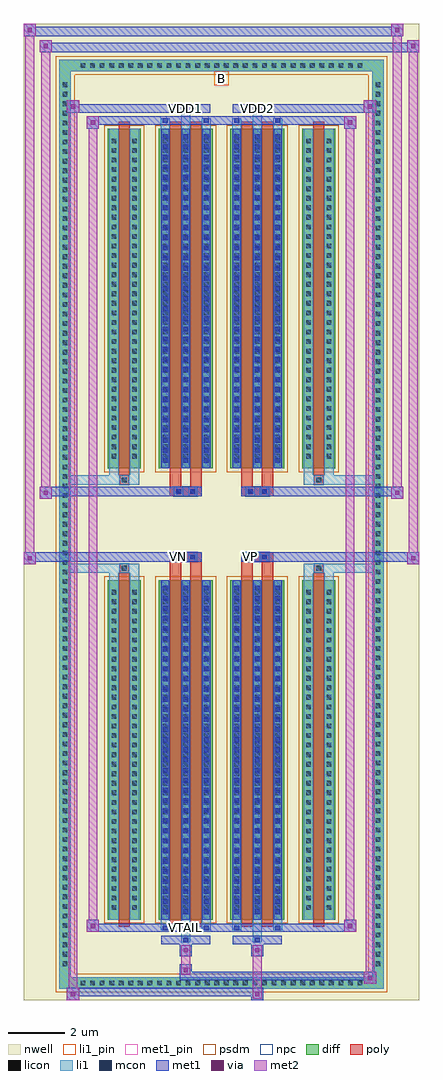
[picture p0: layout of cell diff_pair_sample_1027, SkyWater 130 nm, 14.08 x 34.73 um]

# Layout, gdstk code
import gdstk
lib = gdstk.Library(unit=1e-6, precision=5e-09)
def R(c, l, rs):  # rectangles x0, y0, x1, y1
    for r in rs: c.add(gdstk.rectangle(r[:2], r[2:], *l))
def A(c, l, x, y, w, h, nx, ny, dx, dy):  # array of equal rectangles
    R(c, l, [(x+i*dx, y+j*dy, x+i*dx+w, y+j*dy+h) for i in range(nx) for j in range(ny)])
def P(c, l, *ps):  # polygons
    for p in ps: c.add(gdstk.Polygon(p, *l))
nwell = (64, 20)
diff = (65, 20)
poly = (66, 20)
licon = (66, 44)
li1_pin = (67, 16)
li1 = (67, 20)
mcon = (67, 44)
met1_pin = (68, 16)
met1 = (68, 20)
via = (68, 44)
met2 = (69, 20)
psdm = (94, 20)
npc = (95, 20)

diff_pair_sample_1027 = lib.new_cell('diff_pair_sample_1027')
R(diff_pair_sample_1027, nwell, [(-7.04,-16.93,7.04,17.8), (-4.36,-15.12,-0.01,-0.8), (0.01,-15.12,4.36,-0.8), (-4.36,0.8,-0.01,15.12), (0.01,0.8,4.36,15.12)])
A(diff_pair_sample_1027, diff, -5.135, -16.53, 0.41, 0.41, 30, 2, 0.34, 32.65)
A(diff_pair_sample_1027, diff, -5.77, -15.845, 0.41, 0.41, 1, 93, 0, 0.34)
A(diff_pair_sample_1027, diff, 5.36, -15.845, 0.41, 0.41, 1, 93, 0, 0.34)
R(diff_pair_sample_1027, diff, [(-5.135,-16.53,5.135,-16.12), (-5.77,-15.845,-5.36,15.845), (5.36,-15.845,5.77,15.845), (-4.05,-14.075,-2.87,-1.985), (-2.23,-14.075,-0.32,-1.985), (0.32,-14.075,2.23,-1.985), (2.87,-14.075,4.05,-1.985), (-4.05,1.985,-2.87,14.075), (-2.23,1.985,-0.32,14.075), (0.32,1.985,2.23,14.075), (2.87,1.985,4.05,14.075), (-5.135,16.12,5.135,16.53)])
P(diff_pair_sample_1027, diff, [(5.77,16.53),(-5.77,16.53),(-5.77,-16.12),(-5.36,-16.12),(-5.36,16.12),(5.36,16.12),(5.36,-16.12),(-5.36,-16.12),(-5.77,-16.12),(-5.77,-16.53),(5.77,-16.53)])
R(diff_pair_sample_1027, poly, [(-3.66,-14.325,-3.26,-1.735), (-1.84,-14.325,-1.44,-1.735), (-1.11,-14.325,-0.71,-1.735), (0.71,-14.325,1.11,-1.735), (1.44,-14.325,1.84,-1.735), (3.26,-14.325,3.66,-1.735), (-3.625,-1.735,-3.295,-1.405), (-3.625,-1.735,-3.295,-1.405), (-1.84,-1.735,-1.44,-1.33), (-1.11,-1.735,-0.71,-1.33), (0.71,-1.735,1.11,-1.33), (1.44,-1.735,1.84,-1.33), (3.295,-1.735,3.625,-1.405), (3.295,-1.735,3.625,-1.405), (-1.84,-1.33,-0.71,-1), (-1.69,-1.33,-1.36,-1), (-1.19,-1.33,-0.86,-1), (0.71,-1.33,1.84,-1), (0.86,-1.33,1.19,-1), (1.36,-1.33,1.69,-1), (-1.84,1,-0.71,1.33), (-1.69,1,-1.36,1.33), (-1.19,1,-0.86,1.33), (0.71,1,1.84,1.33), (0.86,1,1.19,1.33), (1.36,1,1.69,1.33), (-1.84,1.33,-1.44,1.735), (-1.11,1.33,-0.71,1.735), (0.71,1.33,1.11,1.735), (1.44,1.33,1.84,1.735), (-3.625,1.405,-3.295,1.735), (-3.625,1.405,-3.295,1.735), (3.295,1.405,3.625,1.735), (3.295,1.405,3.625,1.735), (-3.66,1.735,-3.26,14.325), (-1.84,1.735,-1.44,14.325), (-1.11,1.735,-0.71,14.325), (0.71,1.735,1.11,14.325), (1.44,1.735,1.84,14.325), (3.26,1.735,3.66,14.325)])
A(diff_pair_sample_1027, licon, -5.015, -16.41, 0.17, 0.17, 30, 2, 0.34, 32.65)
A(diff_pair_sample_1027, licon, -5.65, -15.725, 0.17, 0.17, 1, 93, 0, 0.34)
A(diff_pair_sample_1027, licon, 5.48, -15.725, 0.17, 0.17, 1, 93, 0, 0.34)
A(diff_pair_sample_1027, licon, -3.91, -13.725, 0.17, 0.17, 1, 34, 0, 0.34)
A(diff_pair_sample_1027, licon, -3.18, -13.725, 0.17, 0.17, 1, 34, 0, 0.34)
A(diff_pair_sample_1027, licon, -2.09, -13.725, 0.17, 0.17, 3, 34, 0.73, 0.34)
A(diff_pair_sample_1027, licon, 0.46, -13.725, 0.17, 0.17, 3, 34, 0.73, 0.34)
A(diff_pair_sample_1027, licon, 3.01, -13.725, 0.17, 0.17, 1, 34, 0, 0.34)
A(diff_pair_sample_1027, licon, 3.74, -13.725, 0.17, 0.17, 1, 34, 0, 0.34)
A(diff_pair_sample_1027, licon, -3.91, 2.335, 0.17, 0.17, 1, 34, 0, 0.34)
A(diff_pair_sample_1027, licon, -3.18, 2.335, 0.17, 0.17, 1, 34, 0, 0.34)
A(diff_pair_sample_1027, licon, -2.09, 2.335, 0.17, 0.17, 3, 34, 0.73, 0.34)
A(diff_pair_sample_1027, licon, 0.46, 2.335, 0.17, 0.17, 3, 34, 0.73, 0.34)
A(diff_pair_sample_1027, licon, 3.01, 2.335, 0.17, 0.17, 1, 34, 0, 0.34)
A(diff_pair_sample_1027, licon, 3.74, 2.335, 0.17, 0.17, 1, 34, 0, 0.34)
R(diff_pair_sample_1027, licon, [(-3.545,-1.655,-3.375,-1.485), (3.375,-1.655,3.545,-1.485), (-1.61,-1.25,-1.44,-1.08), (-1.11,-1.25,-0.94,-1.08), (0.94,-1.25,1.11,-1.08), (1.44,-1.25,1.61,-1.08), (-1.61,1.08,-1.44,1.25), (-1.11,1.08,-0.94,1.25), (0.94,1.08,1.11,1.25), (1.44,1.08,1.61,1.25), (-3.545,1.485,-3.375,1.655), (3.375,1.485,3.545,1.655)])
R(diff_pair_sample_1027, li1_pin, [(-0.25,15.62,0.25,16.12)])
A(diff_pair_sample_1027, li1, -5.095, -16.49, 0.33, 0.33, 30, 2, 0.34, 32.65)
A(diff_pair_sample_1027, li1, -5.73, -15.805, 0.33, 0.33, 1, 93, 0, 0.34)
A(diff_pair_sample_1027, li1, 5.4, -15.805, 0.33, 0.33, 1, 93, 0, 0.34)
A(diff_pair_sample_1027, li1, -2.17, -14.075, 0.33, 12.09, 3, 2, 0.73, 16.06)
A(diff_pair_sample_1027, li1, 0.38, -14.075, 0.33, 12.09, 3, 2, 0.73, 16.06)
A(diff_pair_sample_1027, li1, -2.09, -13.875, 0.17, 0.17, 3, 33, 0.73, 0.36)
A(diff_pair_sample_1027, li1, -2.09, -13.875, 0.17, 11.69, 3, 2, 0.73, 16.06)
A(diff_pair_sample_1027, li1, 0.46, -13.875, 0.17, 0.17, 3, 33, 0.73, 0.36)
A(diff_pair_sample_1027, li1, 0.46, -13.875, 0.17, 11.69, 3, 2, 0.73, 16.06)
A(diff_pair_sample_1027, li1, -3.99, -13.805, 0.33, 0.33, 1, 34, 0, 0.34)
A(diff_pair_sample_1027, li1, -3.26, -13.805, 0.33, 0.33, 1, 34, 0, 0.34)
A(diff_pair_sample_1027, li1, -2.17, -13.805, 0.33, 0.33, 3, 34, 0.73, 0.34)
A(diff_pair_sample_1027, li1, 0.38, -13.805, 0.33, 0.33, 3, 34, 0.73, 0.34)
A(diff_pair_sample_1027, li1, 2.93, -13.805, 0.33, 0.33, 1, 34, 0, 0.34)
A(diff_pair_sample_1027, li1, 3.66, -13.805, 0.33, 0.33, 1, 34, 0, 0.34)
A(diff_pair_sample_1027, li1, -2.09, 2.185, 0.17, 0.17, 3, 33, 0.73, 0.36)
A(diff_pair_sample_1027, li1, 0.46, 2.185, 0.17, 0.17, 3, 33, 0.73, 0.36)
A(diff_pair_sample_1027, li1, -3.99, 2.255, 0.33, 0.33, 1, 34, 0, 0.34)
A(diff_pair_sample_1027, li1, -3.26, 2.255, 0.33, 0.33, 1, 34, 0, 0.34)
A(diff_pair_sample_1027, li1, -2.17, 2.255, 0.33, 0.33, 3, 34, 0.73, 0.34)
A(diff_pair_sample_1027, li1, 0.38, 2.255, 0.33, 0.33, 3, 34, 0.73, 0.34)
A(diff_pair_sample_1027, li1, 2.93, 2.255, 0.33, 0.33, 1, 34, 0, 0.34)
A(diff_pair_sample_1027, li1, 3.66, 2.255, 0.33, 0.33, 1, 34, 0, 0.34)
R(diff_pair_sample_1027, li1, [(-5.77,-16.53,-5.36,-16.12), (-5.77,-16.53,-5.36,-16.12), (-5.36,-16.53,5.36,-16.12), (5.36,-16.53,5.77,-16.12), (5.36,-16.53,5.77,-16.12), (-5.77,-16.12,-5.36,16.12), (5.36,-16.12,5.77,16.12), (-1.44,-14.88,-1.11,-14.075), (-1.36,-14.88,-1.19,-14.71), (1.11,-14.88,1.44,-14.075), (1.19,-14.88,1.36,-14.71), (-2.17,-14.45,-1.84,-14.075), (-2.09,-14.45,-1.92,-14.28), (-0.71,-14.45,-0.38,-14.075), (-0.63,-14.45,-0.46,-14.28), (0.38,-14.45,0.71,-14.075), (0.46,-14.45,0.63,-14.28), (1.84,-14.45,2.17,-14.075), (1.92,-14.45,2.09,-14.28), (-3.99,-14.075,-3.66,-1.985), (-3.26,-14.075,-2.93,-1.985), (2.93,-14.075,3.26,-1.985), (3.66,-14.075,3.99,-1.985), (-3.99,-1.985,-3.66,-1.405), (-3.26,-1.985,-2.93,-1.405), (2.93,-1.985,3.26,-1.405), (3.66,-1.985,3.99,-1.405), (-5.77,-1.735,-3.625,-1.405), (-3.99,-1.735,-3.625,-1.405), (-3.625,-1.735,-3.295,-1.405), (-3.295,-1.735,-2.93,-1.405), (2.93,-1.735,3.295,-1.405), (3.295,-1.735,3.625,-1.405), (3.295,-1.735,5.77,-1.405), (3.625,-1.735,3.99,-1.405), (-1.69,-1.33,-1.36,-1), (-1.19,-1.33,-0.86,-1), (0.86,-1.33,1.19,-1), (1.36,-1.33,1.69,-1), (-1.69,1,-1.36,1.33), (-1.19,1,-0.86,1.33), (0.86,1,1.19,1.33), (1.36,1,1.69,1.33), (-5.77,1.405,-3.625,1.735), (-3.99,1.405,-3.625,1.735), (-3.99,1.405,-3.66,1.985), (-3.625,1.405,-3.295,1.735), (-3.295,1.405,-2.93,1.735), (-3.26,1.405,-2.93,1.985), (2.93,1.405,3.295,1.735), (2.93,1.405,3.26,1.985), (3.295,1.405,3.625,1.735), (3.295,1.405,5.77,1.735), (3.625,1.405,3.99,1.735), (3.66,1.405,3.99,1.985), (-3.99,1.985,-3.66,14.075), (-3.26,1.985,-2.93,14.075), (2.93,1.985,3.26,14.075), (3.66,1.985,3.99,14.075), (-2.17,14.075,-1.84,14.45), (-1.44,14.075,-1.11,14.88), (-0.71,14.075,-0.38,14.45), (0.38,14.075,0.71,14.45), (1.11,14.075,1.44,14.88), (1.84,14.075,2.17,14.45), (-2.09,14.28,-1.92,14.45), (-0.63,14.28,-0.46,14.45), (0.46,14.28,0.63,14.45), (1.92,14.28,2.09,14.45), (-1.36,14.71,-1.19,14.88), (1.19,14.71,1.36,14.88), (-5.77,16.12,-5.36,16.53), (-5.77,16.12,-5.36,16.53), (-5.36,16.12,5.36,16.53), (5.36,16.12,5.77,16.53), (5.36,16.12,5.77,16.53)])
A(diff_pair_sample_1027, mcon, -2.09, -13.875, 0.17, 0.17, 3, 33, 0.73, 0.36)
A(diff_pair_sample_1027, mcon, 0.46, -13.875, 0.17, 0.17, 3, 33, 0.73, 0.36)
A(diff_pair_sample_1027, mcon, -2.09, 2.185, 0.17, 0.17, 3, 33, 0.73, 0.36)
A(diff_pair_sample_1027, mcon, 0.46, 2.185, 0.17, 0.17, 3, 33, 0.73, 0.36)
R(diff_pair_sample_1027, mcon, [(-1.36,-14.88,-1.19,-14.71), (1.19,-14.88,1.36,-14.71), (-2.09,-14.45,-1.92,-14.28), (-0.63,-14.45,-0.46,-14.28), (0.46,-14.45,0.63,-14.28), (1.92,-14.45,2.09,-14.28), (-1.61,-1.25,-1.44,-1.08), (-1.11,-1.25,-0.94,-1.08), (0.94,-1.25,1.11,-1.08), (1.44,-1.25,1.61,-1.08), (-1.61,1.08,-1.44,1.25), (-1.11,1.08,-0.94,1.25), (0.94,1.08,1.11,1.25), (1.44,1.08,1.61,1.25), (-2.09,14.28,-1.92,14.45), (-0.63,14.28,-0.46,14.45), (0.46,14.28,0.63,14.45), (1.92,14.28,2.09,14.45), (-1.36,14.71,-1.19,14.88), (1.19,14.71,1.36,14.88)])
R(diff_pair_sample_1027, met1_pin, [(-1.41,-14.49,-1.14,-14.22), (-1.66,-1.29,-1.39,-1.02), (0.89,-1.29,1.16,-1.02), (-1.41,14.67,-1.14,14.94), (1.14,14.67,1.41,14.94)])
A(diff_pair_sample_1027, met1, -2.15, -14.075, 0.29, 12.09, 3, 2, 0.73, 16.06)
A(diff_pair_sample_1027, met1, 0.4, -14.075, 0.29, 12.09, 3, 2, 0.73, 16.06)
A(diff_pair_sample_1027, met1, -2.15, -13.935, 0.29, 0.29, 3, 33, 0.73, 0.36)
A(diff_pair_sample_1027, met1, 0.4, -13.935, 0.29, 0.29, 3, 33, 0.73, 0.36)
A(diff_pair_sample_1027, met1, -2.15, 2.125, 0.29, 0.29, 3, 33, 0.73, 0.36)
A(diff_pair_sample_1027, met1, 0.4, 2.125, 0.29, 0.29, 3, 33, 0.73, 0.36)
R(diff_pair_sample_1027, met1, [(-5.5,-16.93,-5.07,-16.5), (1.06,-16.93,1.49,-16.5), (-5.5,-16.79,1.49,-16.5), (5.07,-16.36,5.5,-15.93), (-1.49,-16.22,5.5,-15.93), (-1.49,-16.08,-1.06,-15.65), (-1.49,-15.37,-1.06,-14.94), (1.06,-15.37,1.49,-14.94), (-2.15,-14.94,-0.4,-14.65), (-1.42,-14.94,-1.13,-14.65), (0.4,-14.94,2.15,-14.65), (1.13,-14.94,1.42,-14.65), (-4.79,-14.51,-4.36,-14.08), (-4.79,-14.51,-2.15,-14.22), (-2.15,-14.51,-1.86,-14.22), (-2.15,-14.51,-0.4,-14.22), (-0.69,-14.51,-0.4,-14.22), (-0.4,-14.51,0.4,-14.22), (0.4,-14.51,0.69,-14.22), (0.4,-14.51,2.15,-14.22), (1.86,-14.51,2.15,-14.22), (2.15,-14.51,4.79,-14.22), (4.36,-14.51,4.79,-14.08), (-7.04,-1.43,-6.61,-1), (6.61,-1.43,7.04,-1), (-7.04,-1.33,-0.71,-1), (-1.84,-1.33,-0.71,-1), (0.71,-1.33,1.84,-1), (0.71,-1.33,7.04,-1), (-1.67,-1.31,-1.38,-1.02), (-1.17,-1.31,-0.88,-1.02), (0.88,-1.31,1.17,-1.02), (1.38,-1.31,1.67,-1.02), (-6.47,0.9,-6.04,1.33), (6.04,0.9,6.47,1.33), (-6.47,1,-1.84,1.33), (-1.84,1,-0.71,1.33), (0.71,1,1.84,1.33), (1.84,1,6.47,1.33), (-1.67,1.02,-1.38,1.31), (-1.17,1.02,-0.88,1.31), (0.88,1.02,1.17,1.31), (1.38,1.02,1.67,1.31), (-4.79,14.08,-4.36,14.51), (4.36,14.08,4.79,14.51), (-4.79,14.22,-2.15,14.51), (-2.15,14.22,-1.86,14.51), (-2.15,14.22,-0.4,14.51), (-0.69,14.22,-0.4,14.51), (-0.4,14.22,0.4,14.51), (0.4,14.22,0.69,14.51), (0.4,14.22,2.15,14.51), (1.86,14.22,2.15,14.51), (2.15,14.22,4.79,14.51), (-5.5,14.65,-5.07,15.08), (-5.5,14.65,-2.15,14.94), (-2.15,14.65,-0.4,14.94), (-1.42,14.65,-1.13,14.94), (0.4,14.65,2.15,14.94), (1.13,14.65,1.42,14.94), (2.15,14.65,5.5,14.94), (5.07,14.65,5.5,15.08), (-6.47,16.8,-6.04,17.23), (-6.47,16.8,-4.36,17.13), (-4.36,16.8,4.36,17.13), (4.36,16.8,7.04,17.13), (6.61,16.8,7.04,17.23), (-7.04,17.37,-6.61,17.8), (-7.04,17.37,-4.36,17.7), (-4.36,17.37,4.36,17.7), (4.36,17.37,6.47,17.7), (6.04,17.37,6.47,17.8)])
R(diff_pair_sample_1027, via, [(-5.36,-16.79,-5.21,-16.64), (1.2,-16.79,1.35,-16.64), (5.21,-16.22,5.36,-16.07), (-1.35,-15.94,-1.2,-15.79), (-1.35,-15.23,-1.2,-15.08), (1.2,-15.23,1.35,-15.08), (-4.65,-14.37,-4.5,-14.22), (4.5,-14.37,4.65,-14.22), (-6.9,-1.29,-6.75,-1.14), (6.75,-1.29,6.9,-1.14), (-6.33,1.04,-6.18,1.19), (6.18,1.04,6.33,1.19), (-4.65,14.22,-4.5,14.37), (4.5,14.22,4.65,14.37), (-5.36,14.79,-5.21,14.94), (5.21,14.79,5.36,14.94), (-6.33,16.94,-6.18,17.09), (6.75,16.94,6.9,17.09), (-6.9,17.51,-6.75,17.66), (6.18,17.51,6.33,17.66)])
R(diff_pair_sample_1027, met2, [(-5.5,-16.93,-5.07,-16.5), (-5.43,-16.93,-5.14,15.08), (-5.14,-16.93,-5.07,-16.5), (-5.45,-16.88,-5.12,-16.55), (1.11,-16.88,1.44,-16.55), (1.11,-16.55,1.44,-15.32), (5.07,-16.36,5.5,-15.93), (5.14,-16.36,5.43,15.08), (5.43,-16.36,5.5,-15.93), (5.12,-16.31,5.45,-15.98), (-1.44,-16.03,-1.11,-15.7), (-1.44,-15.7,-1.11,-15.32), (-1.44,-15.32,-1.11,-14.99), (1.11,-15.32,1.44,-14.99), (-4.79,-14.51,-4.36,-14.08), (-4.72,-14.51,-4.43,14.51), (-4.43,-14.51,-4.36,-14.08), (4.36,-14.51,4.79,-14.08), (4.43,-14.51,4.72,14.51), (4.72,-14.51,4.79,-14.08), (-4.74,-14.46,-4.41,-14.13), (4.41,-14.46,4.74,-14.13), (-7.04,-1.43,-6.61,-1), (-6.99,-1.43,-6.66,17.8), (-6.66,-1.43,-6.61,-1), (6.61,-1.43,7.04,-1), (6.66,-1.43,6.99,17.23), (6.99,-1.43,7.04,-1), (-6.99,-1.38,-6.66,-1.05), (6.66,-1.38,6.99,-1.05), (-6.47,0.9,-6.04,1.33), (-6.42,0.9,-6.09,17.23), (-6.09,0.9,-6.04,1.33), (6.04,0.9,6.47,1.33), (6.09,0.9,6.42,17.8), (6.42,0.9,6.47,1.33), (-6.42,0.95,-6.09,1.28), (6.09,0.95,6.42,1.28), (-4.79,14.08,-4.36,14.51), (-4.43,14.08,-4.36,14.51), (4.36,14.08,4.79,14.51), (4.72,14.08,4.79,14.51), (-4.74,14.13,-4.41,14.46), (4.41,14.13,4.74,14.46), (-5.5,14.65,-5.07,15.08), (-5.14,14.65,-5.07,15.08), (5.07,14.65,5.5,15.08), (5.43,14.65,5.5,15.08), (-5.45,14.7,-5.12,15.03), (5.12,14.7,5.45,15.03), (-6.47,16.8,-6.04,17.23), (-6.09,16.8,-6.04,17.23), (6.61,16.8,7.04,17.23), (6.99,16.8,7.04,17.23), (-6.42,16.85,-6.09,17.18), (6.66,16.85,6.99,17.18), (-7.04,17.37,-6.61,17.8), (-6.66,17.37,-6.61,17.8), (6.04,17.37,6.47,17.8), (6.42,17.37,6.47,17.8), (-6.99,17.42,-6.66,17.75), (6.09,17.42,6.42,17.75)])
R(diff_pair_sample_1027, psdm, [(-4.18,-14.205,-2.74,-1.855), (-2.36,-14.205,-0.19,-1.855), (0.19,-14.205,2.36,-1.855), (2.74,-14.205,4.18,-1.855), (-4.18,1.855,-2.74,14.205), (-2.36,1.855,-0.19,14.205), (0.19,1.855,2.36,14.205), (2.74,1.855,4.18,14.205)])
P(diff_pair_sample_1027, psdm, [(5.9,16.66),(-5.9,16.66),(-5.9,-15.99),(-5.23,-15.99),(-5.23,15.99),(5.23,15.99),(5.23,-15.99),(-5.23,-15.99),(-5.9,-15.99),(-5.9,-16.66),(5.9,-16.66)])
R(diff_pair_sample_1027, npc, [(-3.645,-1.755,-3.275,-1.385), (3.275,-1.755,3.645,-1.385), (-1.71,-1.35,-1.34,-0.98), (-1.71,-1.35,-0.84,-0.98), (-1.71,-1.35,-0.84,-0.98), (-1.21,-1.35,-0.84,-0.98), (0.84,-1.35,1.21,-0.98), (0.84,-1.35,1.71,-0.98), (0.84,-1.35,1.71,-0.98), (1.34,-1.35,1.71,-0.98), (-1.71,0.98,-1.34,1.35), (-1.71,0.98,-0.84,1.35), (-1.71,0.98,-0.84,1.35), (-1.21,0.98,-0.84,1.35), (0.84,0.98,1.21,1.35), (0.84,0.98,1.71,1.35), (0.84,0.98,1.71,1.35), (1.34,0.98,1.71,1.35), (-3.645,1.385,-3.275,1.755), (3.275,1.385,3.645,1.755)])
diff_pair_sample_1027.add(gdstk.Label('VTAIL', (-1.275,-14.355), layer=68, texttype=5))
diff_pair_sample_1027.add(gdstk.Label('VN', (-1.525,-1.155), layer=68, texttype=5))
diff_pair_sample_1027.add(gdstk.Label('VP', (1.025,-1.155), layer=68, texttype=5))
diff_pair_sample_1027.add(gdstk.Label('B', (0,15.87), layer=67, texttype=5))
diff_pair_sample_1027.add(gdstk.Label('VDD2', (1.275,14.805), layer=68, texttype=5))
diff_pair_sample_1027.add(gdstk.Label('VDD1', (-1.275,14.805), layer=68, texttype=5))

lib.write_gds('diff_pair_sample_1027.gds')
